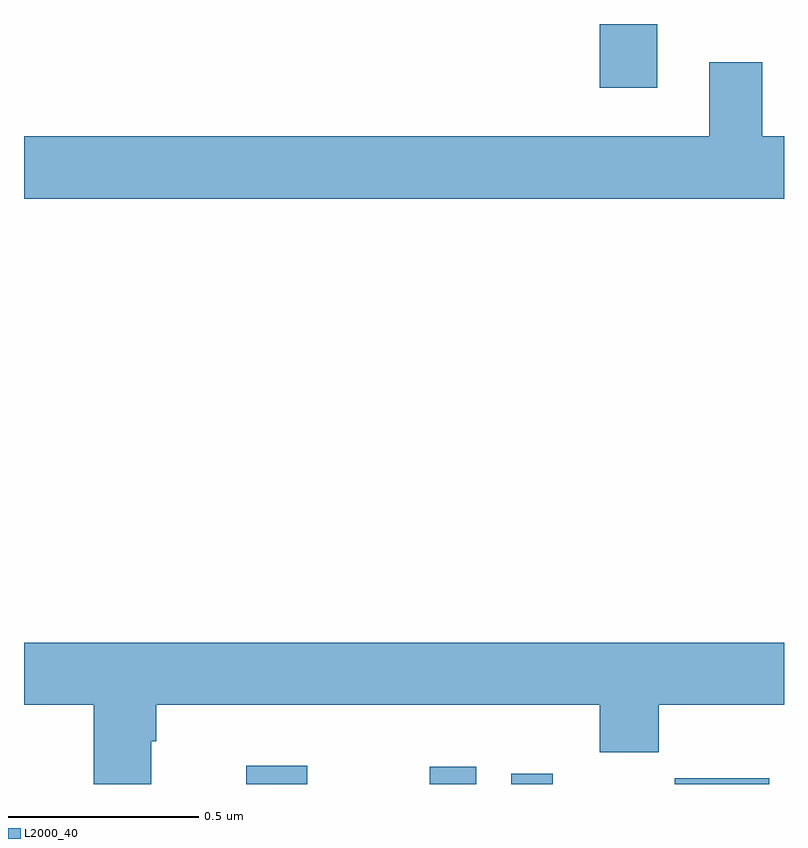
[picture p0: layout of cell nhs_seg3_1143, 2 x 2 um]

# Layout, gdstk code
import gdstk
lib = gdstk.Library(unit=1e-6, precision=1e-09)
def R(c, l, rs):  # rectangles x0, y0, x1, y1
    for r in rs: c.add(gdstk.rectangle(r[:2], r[2:], *l))
def P(c, l, *ps):  # polygons
    for p in ps: c.add(gdstk.Polygon(p, *l))
L2000_40 = (2000, 40)

nhs_seg3_1143 = lib.new_cell('nhs_seg3_1143')
R(nhs_seg3_1143, L2000_40, [(125.585,675.4,125.746,675.448), (126.068,675.4,126.19,675.445), (126.282,675.4,126.391,675.427), (126.712,675.4,126.961,675.415), (126.515,677.232,126.667,677.4)])
P(nhs_seg3_1143, L2000_40, [(127,677.104),(126.943,677.104),(126.943,677.299),(126.803,677.299),(126.803,677.104),(125,677.104),(125,676.94),(127,676.94)],
  [(125.335,675.512),(125.348,675.512),(125.348,675.608),(126.515,675.608),(126.515,675.484),(126.671,675.484),(126.671,675.608),(127,675.608),(127,675.772),(125,675.772),(125,675.608),(125.183,675.608),(125.183,675.4),(125.335,675.4)])

lib.write_gds('nhs_seg3_1143.gds')
